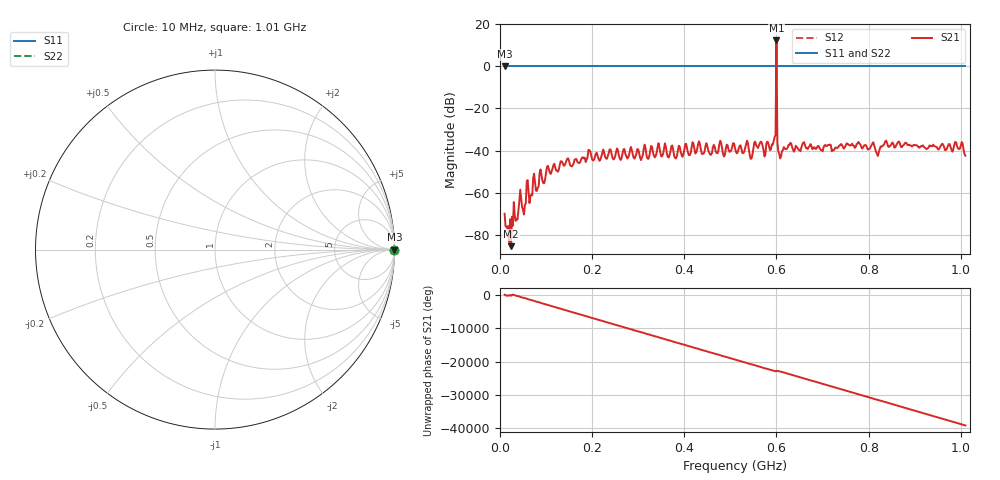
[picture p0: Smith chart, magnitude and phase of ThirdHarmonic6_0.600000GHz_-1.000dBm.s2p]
! 8/15/2025 7:34:58 PM
! C:\ANRITSUVNA\TEMP\TEMP.S2P
! CHANNEL.1
! TR.MEASUREMENT
! RAW.DATA
! RF.CORRECTION.OFF
! AVERAGING.OFF
! IF.BANDWIDTH: 5KHZ
! SWEEPTYPE:  FREQ.SWEEP(Linear)
! Reference Plane Port Info
! PORT:  PORT1  PORT2
! DISTANCE:  0  m  0  m
! TIME:  0  s  0  s
! PHASE.OFFSET:  0  deg.  0  deg.
! LOSS:  0  dB  0  dB
! REF.LOSS:  0  dB  0  dB
! REF.FREQ:  0  Hz  0  Hz
! Power Info
! POWER:  -20  dBm  -20  dBm
! EFF.POWER:  -20  dBm  -20  dBm
! SOURCE.ATTEN:  0  dB  0  dB
! TEST.ATTEN:  0  dB  0  dB
# GHZ S RI R 50.0
! FREQ.GHZ  S11RE  S11IM  S21RE  S21IM  S12RE  S12IM  S22RE  S22IM
!; PortSelection: Port_12
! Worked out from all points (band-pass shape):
!   501 points, 10 MHz to 1.01 GHz, reference 50 ohm
!   highest |S21| = 12.27 dB at 600 MHz (marker M1); lowest = -85.4 dB at 24 MHz (marker M2)
!   |S21| within 3 dB of the highest: 599.8659 MHz to 600.1241 MHz (258.2 kHz wide, 0.043 % of centre)
!   lowest |S11| = 0.0 dB at 10 MHz (marker M3)
!   |S11| at or under -10 dB: nowhere
!   |S22| runs from 0.0 to 0.0 dB; largest |S21 - S12| = 4
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0.01  1 0  -0.000263 0.000177  1 0  1 0
0.024  1 0  -4.78e-05 -2.47e-05  1 0  1 0
0.044  1 0  -0.000745 -0.000915  1 0  1 0
0.052  1 0  -7.18e-05 -0.000294  1 0  1 0
0.058  1 0  0.00118 0.0014  1 0  1 0
0.066  1 0  0.000565 0.00059  1 0  1 0
0.104  1 0  0.00155 -0.00405  1 0  1 0
0.178  1 0  -0.00672 0.00077  1 0  1 0
0.344  1 0  0.00745 -0.013  1 0  1 0
0.51  1 0  0.0026 0.0111  1 0  1 0
0.536  1 0  -0.0106 0.0135  1 0  1 0
0.544  1 0  -0.00594 0.00221  1 0  1 0
0.554  1 0  -0.01 0.0128  1 0  1 0
0.594  1 0  0.0146 -0.00879  1 0  1 0
0.596  1 0  -0.00999 -0.0183  1 0  1 0
0.6  1 0  1.107 -3.957  1 0  1 0
0.604  1 0  -0.00697 -0.00663  1 0  1 0
0.606  1 0  -0.0074 0.00367  1 0  1 0
0.678  1 0  -0.0101 0.00374  1 0  1 0
0.844  1 0  0.00723 -0.00975  1 0  1 0
0.99  1 0  -0.0146 0.00552  1 0  1 0
1.01  1 0  0.00178 0.00734  1 0  1 0
